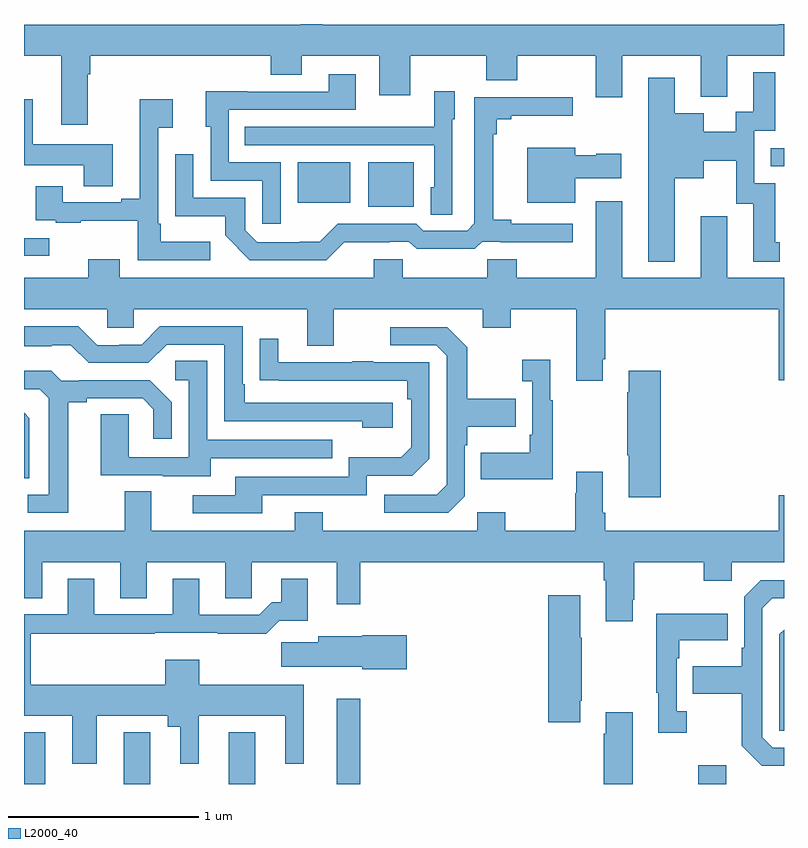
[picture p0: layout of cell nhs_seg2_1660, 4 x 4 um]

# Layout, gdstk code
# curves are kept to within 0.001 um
import gdstk
lib = gdstk.Library(unit=1e-6, precision=1e-09)
def R(c, l, rs):  # rectangles x0, y0, x1, y1
    for r in rs: c.add(gdstk.rectangle(r[:2], r[2:], *l))
def P(c, l, *ps):  # polygons
    for p in ps: c.add(gdstk.Polygon(p, *l))
L2000_40 = (2000, 40)

nhs_seg2_1660 = lib.new_cell('nhs_seg2_1660')
R(nhs_seg2_1660, L2000_40, [(197,647.8,197.113,648.073), (197.525,647.8,197.665,648.073), (198.077,647.8,198.217,648.073), (198.647,647.8,198.769,648.25), (200.548,647.8,200.695,647.899), (197,650.579,197.134,650.673), (198.812,650.837,199.051,651.073), (198.44,650.858,198.718,651.073), (200.929,651.051,201,651.147)])
P(nhs_seg2_1660, L2000_40, [(197.335,651.536),(197.348,651.536),(197.348,651.632),(198.299,651.632),(198.299,651.533),(198.463,651.533),(198.463,651.632),(198.869,651.632),(198.869,651.426),(199.033,651.426),(199.033,651.632),(199.433,651.632),(199.433,651.504),(199.597,651.504),(199.597,651.632),(200.009,651.632),(200.009,651.414),(200.149,651.414),(200.149,651.632),(200.561,651.632),(200.561,651.416),(200.701,651.416),(200.701,651.632),(201,651.632),(201,651.8),(200.972,651.8),(200.972,651.796),(198.573,651.796),(198.573,651.8),(198.457,651.8),(198.457,651.796),(197,651.796),(197,651.632),(197.195,651.632),(197.195,651.27),(197.335,651.27)],
  [(200.425,650.987),(200.578,650.987),(200.578,651.08),(200.748,651.08),(200.748,650.853),(200.837,650.853),(200.837,650.55),(200.977,650.55),(200.977,650.652),(200.953,650.652),(200.953,650.961),(200.844,650.961),(200.844,651.237),(200.953,651.237),(200.953,651.547),(200.837,651.547),(200.837,651.338),(200.747,651.338),(200.747,651.232),(200.578,651.232),(200.578,651.331),(200.425,651.331),(200.425,651.517),(200.285,651.517),(200.285,650.549),(200.425,650.549)],
  [(198.351,651.072),(198.078,651.072),(198.078,651.348),(198.745,651.348),(198.745,651.535),(198.605,651.535),(198.605,651.444),(198.175,651.444),(198.175,651.446),(197.957,651.446),(197.957,651.258),(197.982,651.258),(197.982,650.976),(198.255,650.976),(198.255,650.748),(198.351,650.748)],
  [(199.254,651.3),(199.267,651.3),(199.267,651.445),(199.158,651.445),(199.158,651.259),(198.841,651.259),(198.841,651.258),(198.163,651.258),(198.163,651.162),(199.158,651.162),(199.158,650.94),(199.142,650.94),(199.142,650.797),(199.254,650.797)],
  [(198.686,650.651),(198.926,650.651),(198.926,650.655),(199.026,650.655),(199.066,650.616),(199.373,650.616),(199.413,650.655),(199.507,650.655),(199.507,650.651),(199.888,650.651),(199.888,650.748),(199.564,650.748),(199.564,650.771),(199.469,650.771),(199.469,651.221),(199.487,651.221),(199.487,651.298),(199.564,651.298),(199.564,651.317),(199.888,651.317),(199.888,651.414),(199.371,651.414),(199.371,650.751),(199.332,650.712),(199.101,650.712),(199.065,650.748),(198.651,650.748),(198.557,650.654),(198.452,650.654),(198.452,650.652),(198.228,650.652),(198.165,650.715),(198.165,650.886),(197.892,650.886),(197.892,651.115),(197.796,651.115),(197.796,650.789),(198.058,650.789),(198.058,650.687),(198.188,650.556),(198.591,650.556)],
  [(197.467,651.166),(197.047,651.166),(197.047,651.403),(197,651.403),(197,651.056),(197.315,651.056),(197.315,650.947),(197.467,650.947)],
  [(197.98,650.653),(197.719,650.653),(197.719,650.749),(197.706,650.749),(197.706,651.254),(197.782,651.254),(197.782,651.403),(197.609,651.403),(197.609,650.881),(197.513,650.881),(197.513,650.862),(197.203,650.862),(197.203,650.947),(197.063,650.947),(197.063,650.766),(197.167,650.766),(197.167,650.754),(197.299,650.754),(197.299,650.765),(197.598,650.765),(197.598,650.556),(197.98,650.556)],
  [(199.9,650.987),(200.143,650.987),(200.143,651.117),(200.013,651.117),(200.013,651.109),(199.9,651.109),(199.9,651.148),(199.649,651.148),(199.649,650.858),(199.9,650.858)],
  [(200.047,650.035),(200.06,650.035),(200.06,650.3),(200.972,650.3),(200.972,649.926),(201,649.926),(201,650.464),(200.701,650.464),(200.701,650.788),(200.561,650.788),(200.561,650.464),(200.149,650.464),(200.149,650.866),(200.009,650.866),(200.009,650.464),(199.593,650.464),(199.593,650.562),(199.438,650.562),(199.438,650.464),(198.993,650.464),(198.993,650.562),(198.842,650.562),(198.842,650.464),(197.503,650.464),(197.503,650.563),(197.339,650.563),(197.339,650.464),(197,650.464),(197,650.3),(197.439,650.3),(197.439,650.202),(197.577,650.202),(197.577,650.3),(198.491,650.3),(198.491,650.106),(198.631,650.106),(198.631,650.3),(199.415,650.3),(199.415,650.201),(199.563,650.201),(199.563,650.3),(199.907,650.3),(199.907,649.923),(200.047,649.923)],
  [(198.94,649.806),(198.163,649.806),(198.163,649.903),(198.15,649.903),(198.15,650.208),(197.715,650.208),(197.619,650.112),(197.501,650.112),(197.501,650.109),(197.385,650.109),(197.285,650.209),(197,650.209),(197,650.105),(197.147,650.105),(197.147,650.109),(197.247,650.109),(197.34,650.016),(197.655,650.016),(197.751,650.112),(198.054,650.112),(198.054,649.71),(198.779,649.71),(198.779,649.676),(198.94,649.676)],
  [(199.32,649.314),(199.32,649.583),(199.333,649.583),(199.333,649.679),(199.589,649.679),(199.589,649.827),(199.333,649.827),(199.333,650.099),(199.227,650.205),(198.927,650.205),(198.927,650.109),(199.17,650.109),(199.224,650.055),(199.224,649.374),(199.173,649.323),(198.897,649.323),(198.897,649.227),(199.233,649.227)],
  [(198.253,649.32),(198.804,649.32),(198.804,649.422),(199.044,649.422),(199.134,649.512),(199.134,650.019),(198.839,650.019),(198.839,650.024),(198.727,650.024),(198.727,650.019),(198.337,650.019),(198.337,650.143),(198.241,650.143),(198.241,649.924),(199.018,649.923),(199.018,649.826),(199.038,649.826),(199.038,649.572),(198.985,649.519),(198.708,649.519),(198.708,649.416),(198.113,649.416),(198.113,649.32),(197.889,649.32),(197.889,649.224),(198.253,649.224)],
  [(199.783,649.819),(199.771,649.819),(199.771,650.032),(199.623,650.032),(199.623,649.919),(199.674,649.919),(199.674,649.639),(199.662,649.639),(199.662,649.543),(199.405,649.543),(199.405,649.403),(199.783,649.403)],
  [(197.983,649.515),(198.623,649.515),(198.623,649.611),(197.964,649.611),(197.964,650.027),(197.796,650.027),(197.796,649.926),(197.868,649.926),(197.868,649.521),(197.55,649.521),(197.55,649.745),(197.405,649.745),(197.405,649.425),(197.729,649.425),(197.729,649.421),(197.983,649.421)],
  [(197.233,649.808),(197.329,649.808),(197.329,649.83),(197.624,649.83),(197.681,649.773),(197.681,649.617),(197.778,649.617),(197.778,649.81),(197.662,649.926),(197.29,649.926),(197.29,649.923),(197.196,649.923),(197.144,649.975),(197.001,649.975),(197.001,649.878),(197.082,649.878),(197.129,649.831),(197.129,649.323),(197.019,649.323),(197.019,649.227),(197.233,649.227)],
  [(200.351,649.975),(200.183,649.975),(200.183,649.862),(200.176,649.862),(200.176,649.531),(200.183,649.531),(200.183,649.308),(200.351,649.308)],
  [(197.028,649.726),(197,649.754),(197,649.408),(197.028,649.408)],
  [(200.203,648.769),(200.211,648.769),(200.211,648.968),(200.578,648.968),(200.578,648.869),(200.724,648.869),(200.724,648.968),(201,648.968),(201,649.321),(200.972,649.321),(200.972,649.132),(200.06,649.132),(200.06,649.228),(200.047,649.228),(200.047,649.444),(199.907,649.444),(199.907,649.331),(199.9,649.331),(199.9,649.132),(199.533,649.132),(199.533,649.231),(199.386,649.231),(199.386,649.132),(198.573,649.132),(198.573,649.231),(198.425,649.231),(198.425,649.132),(197.671,649.132),(197.671,649.34),(197.531,649.34),(197.531,649.132),(197,649.132),(197,648.778),(197.095,648.778),(197.095,648.968),(197.507,648.968),(197.507,648.778),(197.647,648.778),(197.647,648.968),(198.059,648.968),(198.059,648.778),(198.198,648.778),(198.198,648.968),(198.647,648.968),(198.647,648.747),(198.769,648.747),(198.769,648.968),(200.051,648.968),(200.051,648.872),(200.063,648.872),(200.063,648.657),(200.203,648.657)],
  [(197.383,648.158),(197.756,648.158),(197.756,648.101),(197.822,648.101),(197.822,647.907),(197.92,647.907),(197.92,648.158),(198.374,648.158),(198.374,647.907),(198.472,647.907),(198.472,648.322),(197.922,648.322),(197.922,648.454),(197.744,648.454),(197.744,648.322),(197.035,648.322),(197.035,648.592),(197.687,648.592),(197.687,648.596),(198.019,648.596),(198.019,648.59),(198.275,648.59),(198.344,648.659),(198.493,648.659),(198.493,648.88),(198.353,648.88),(198.353,648.757),(198.304,648.757),(198.237,648.69),(197.923,648.69),(197.923,648.88),(197.783,648.88),(197.783,648.693),(197.371,648.693),(197.371,648.88),(197.231,648.88),(197.231,648.693),(197,648.693),(197,648.158),(197.255,648.158),(197.255,647.907),(197.383,647.907)],
  [(201,647.991),(200.94,647.991),(200.886,648.045),(200.886,648.726),(200.937,648.777),(201,648.777),(201,648.873),(200.877,648.873),(200.79,648.786),(200.79,648.517),(200.778,648.517),(200.778,648.421),(200.521,648.421),(200.521,648.274),(200.778,648.274),(200.778,648.001),(200.883,647.895),(201,647.895)],
  [(199.927,648.238),(199.935,648.238),(199.935,648.569),(199.927,648.569),(199.927,648.793),(199.76,648.793),(199.76,648.126),(199.927,648.126)],
  [(200.488,648.182),(200.436,648.182),(200.436,648.461),(200.449,648.461),(200.449,648.557),(200.705,648.557),(200.705,648.697),(200.328,648.697),(200.328,648.281),(200.339,648.281),(200.339,648.069),(200.488,648.069)],
  [(201,648.612),(200.976,648.588),(200.976,648.081),(201,648.081)],
  [(199.015,648.582),(198.78,648.582),(198.78,648.577),(198.548,648.577),(198.548,648.545),(198.354,648.545),(198.354,648.416),(198.78,648.416),(198.78,648.404),(199.015,648.404)],
  [(200.203,648.178),(200.063,648.178),(200.063,648.065),(200.051,648.065),(200.051,647.8),(200.203,647.8)])

lib.write_gds('nhs_seg2_1660.gds')
